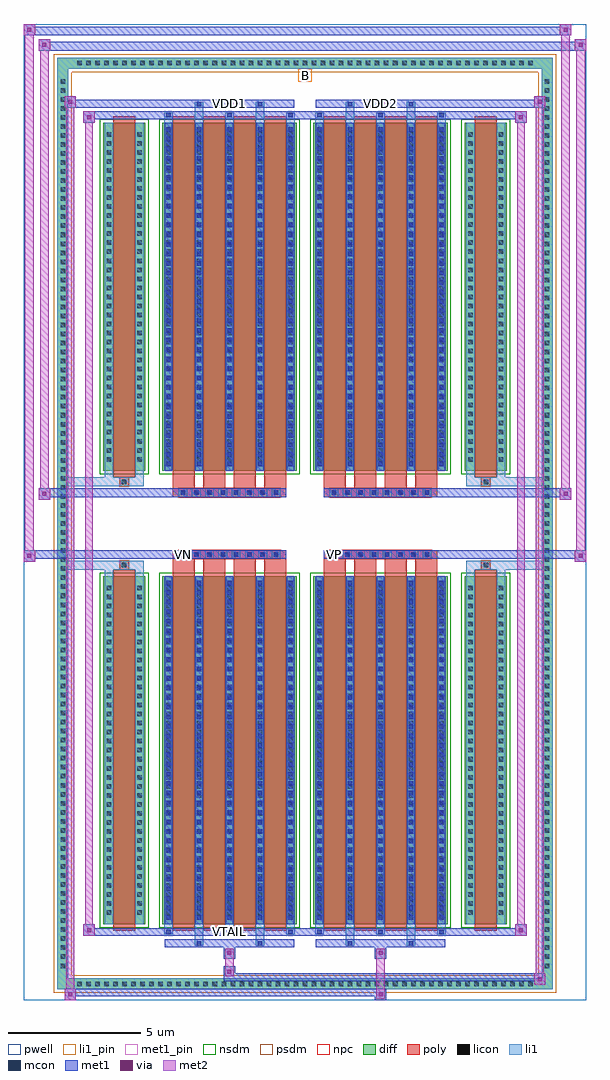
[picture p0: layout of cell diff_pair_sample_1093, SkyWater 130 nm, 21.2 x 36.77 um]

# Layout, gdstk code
import gdstk
lib = gdstk.Library(unit=1e-6, precision=5e-09)
def R(c, l, rs):  # rectangles x0, y0, x1, y1
    for r in rs: c.add(gdstk.rectangle(r[:2], r[2:], *l))
def A(c, l, x, y, w, h, nx, ny, dx, dy):  # array of equal rectangles
    R(c, l, [(x+i*dx, y+j*dy, x+i*dx+w, y+j*dy+h) for i in range(nx) for j in range(ny)])
def P(c, l, *ps):  # polygons
    for p in ps: c.add(gdstk.Polygon(p, *l))
pwell = (64, 44)
diff = (65, 20)
poly = (66, 20)
licon = (66, 44)
li1_pin = (67, 16)
li1 = (67, 20)
mcon = (67, 44)
met1_pin = (68, 16)
met1 = (68, 20)
via = (68, 44)
met2 = (69, 20)
nsdm = (93, 44)
psdm = (94, 20)
npc = (95, 20)

diff_pair_sample_1093 = lib.new_cell('diff_pair_sample_1093')
R(diff_pair_sample_1093, pwell, [(-10.6,-17.95,10.6,18.82), (-7.92,-16.14,-0.01,-0.8), (0.01,-16.14,7.92,-0.8), (-7.92,0.8,-0.01,16.14), (0.01,0.8,7.92,16.14)])
A(diff_pair_sample_1093, diff, -8.705, -17.55, 0.41, 0.41, 51, 2, 0.34, 34.69)
A(diff_pair_sample_1093, diff, -9.33, -16.865, 0.41, 0.41, 1, 99, 0, 0.34)
A(diff_pair_sample_1093, diff, 8.92, -16.865, 0.41, 0.41, 1, 99, 0, 0.34)
R(diff_pair_sample_1093, diff, [(-8.705,-17.55,8.705,-17.14), (-9.33,-16.865,-8.92,16.865), (8.92,-16.865,9.33,16.865), (-7.61,-15.095,-6.01,-1.985), (-5.37,-15.095,-0.32,-1.985), (0.32,-15.095,5.37,-1.985), (6.01,-15.095,7.61,-1.985), (-7.61,1.985,-6.01,15.095), (-5.37,1.985,-0.32,15.095), (0.32,1.985,5.37,15.095), (6.01,1.985,7.61,15.095), (-8.705,17.14,8.705,17.55)])
P(diff_pair_sample_1093, diff, [(9.33,17.55),(-9.33,17.55),(-9.33,-17.14),(-8.92,-17.14),(-8.92,17.14),(8.92,17.14),(8.92,-17.14),(-8.92,-17.14),(-9.33,-17.14),(-9.33,-17.55),(9.33,-17.55)])
A(diff_pair_sample_1093, poly, -4.98, -15.345, 0.82, 13.61, 4, 2, 1.15, 17.08)
A(diff_pair_sample_1093, poly, 0.71, -15.345, 0.82, 13.61, 4, 2, 1.15, 17.08)
A(diff_pair_sample_1093, poly, -4.98, -1.735, 0.82, 0.405, 4, 2, 1.15, 3.065)
A(diff_pair_sample_1093, poly, 0.71, -1.735, 0.82, 0.405, 4, 2, 1.15, 3.065)
A(diff_pair_sample_1093, poly, -4.76, -1.33, 0.33, 0.33, 8, 2, 0.5, 2.33)
A(diff_pair_sample_1093, poly, 0.93, -1.33, 0.33, 0.33, 8, 2, 0.5, 2.33)
R(diff_pair_sample_1093, poly, [(-7.22,-15.345,-6.4,-1.735), (6.4,-15.345,7.22,-1.735), (-6.975,-1.735,-6.645,-1.405), (-6.975,-1.735,-6.645,-1.405), (6.645,-1.735,6.975,-1.405), (6.645,-1.735,6.975,-1.405), (-4.98,-1.33,-0.71,-1), (0.71,-1.33,4.98,-1), (-4.98,1,-0.71,1.33), (0.71,1,4.98,1.33), (-6.975,1.405,-6.645,1.735), (-6.975,1.405,-6.645,1.735), (6.645,1.405,6.975,1.735), (6.645,1.405,6.975,1.735), (-7.22,1.735,-6.4,15.345), (6.4,1.735,7.22,15.345)])
A(diff_pair_sample_1093, licon, -8.585, -17.43, 0.17, 0.17, 51, 2, 0.34, 34.69)
A(diff_pair_sample_1093, licon, -9.21, -16.745, 0.17, 0.17, 1, 99, 0, 0.34)
A(diff_pair_sample_1093, licon, 9.04, -16.745, 0.17, 0.17, 1, 99, 0, 0.34)
A(diff_pair_sample_1093, licon, -7.47, -14.745, 0.17, 0.17, 1, 37, 0, 0.34)
A(diff_pair_sample_1093, licon, -6.32, -14.745, 0.17, 0.17, 1, 37, 0, 0.34)
A(diff_pair_sample_1093, licon, -5.23, -14.745, 0.17, 0.17, 5, 37, 1.15, 0.34)
A(diff_pair_sample_1093, licon, 0.46, -14.745, 0.17, 0.17, 5, 37, 1.15, 0.34)
A(diff_pair_sample_1093, licon, 6.15, -14.745, 0.17, 0.17, 1, 37, 0, 0.34)
A(diff_pair_sample_1093, licon, 7.3, -14.745, 0.17, 0.17, 1, 37, 0, 0.34)
A(diff_pair_sample_1093, licon, -4.68, -1.25, 0.17, 0.17, 8, 2, 0.5, 2.33)
A(diff_pair_sample_1093, licon, 1.01, -1.25, 0.17, 0.17, 8, 2, 0.5, 2.33)
A(diff_pair_sample_1093, licon, -7.47, 2.335, 0.17, 0.17, 1, 37, 0, 0.34)
A(diff_pair_sample_1093, licon, -6.32, 2.335, 0.17, 0.17, 1, 37, 0, 0.34)
A(diff_pair_sample_1093, licon, -5.23, 2.335, 0.17, 0.17, 5, 37, 1.15, 0.34)
A(diff_pair_sample_1093, licon, 0.46, 2.335, 0.17, 0.17, 5, 37, 1.15, 0.34)
A(diff_pair_sample_1093, licon, 6.15, 2.335, 0.17, 0.17, 1, 37, 0, 0.34)
A(diff_pair_sample_1093, licon, 7.3, 2.335, 0.17, 0.17, 1, 37, 0, 0.34)
R(diff_pair_sample_1093, licon, [(-6.895,-1.655,-6.725,-1.485), (6.725,-1.655,6.895,-1.485), (-6.895,1.485,-6.725,1.655), (6.725,1.485,6.895,1.655)])
R(diff_pair_sample_1093, li1_pin, [(-0.25,16.64,0.25,17.14)])
A(diff_pair_sample_1093, li1, -8.665, -17.51, 0.33, 0.33, 51, 2, 0.34, 34.69)
A(diff_pair_sample_1093, li1, -9.29, -16.825, 0.33, 0.33, 1, 99, 0, 0.34)
A(diff_pair_sample_1093, li1, 8.96, -16.825, 0.33, 0.33, 1, 99, 0, 0.34)
A(diff_pair_sample_1093, li1, -5.31, -15.47, 0.33, 0.375, 3, 2, 2.3, 30.565)
A(diff_pair_sample_1093, li1, -5.23, -15.47, 0.17, 0.17, 3, 2, 2.3, 30.77)
A(diff_pair_sample_1093, li1, 0.38, -15.47, 0.33, 0.375, 3, 2, 2.3, 30.565)
A(diff_pair_sample_1093, li1, 0.46, -15.47, 0.17, 0.17, 3, 2, 2.3, 30.77)
A(diff_pair_sample_1093, li1, -5.31, -15.095, 0.33, 13.11, 5, 2, 1.15, 17.08)
A(diff_pair_sample_1093, li1, 0.38, -15.095, 0.33, 13.11, 5, 2, 1.15, 17.08)
A(diff_pair_sample_1093, li1, -5.23, -14.925, 0.17, 0.17, 5, 36, 1.15, 0.36)
A(diff_pair_sample_1093, li1, -5.23, -14.925, 0.17, 12.77, 5, 2, 1.15, 17.08)
A(diff_pair_sample_1093, li1, 0.46, -14.925, 0.17, 0.17, 5, 36, 1.15, 0.36)
A(diff_pair_sample_1093, li1, 0.46, -14.925, 0.17, 12.77, 5, 2, 1.15, 17.08)
A(diff_pair_sample_1093, li1, -7.55, -14.825, 0.33, 0.33, 1, 37, 0, 0.34)
A(diff_pair_sample_1093, li1, -6.4, -14.825, 0.33, 0.33, 1, 37, 0, 0.34)
A(diff_pair_sample_1093, li1, -5.31, -14.825, 0.33, 0.33, 5, 37, 1.15, 0.34)
A(diff_pair_sample_1093, li1, 0.38, -14.825, 0.33, 0.33, 5, 37, 1.15, 0.34)
A(diff_pair_sample_1093, li1, 6.07, -14.825, 0.33, 0.33, 1, 37, 0, 0.34)
A(diff_pair_sample_1093, li1, 7.22, -14.825, 0.33, 0.33, 1, 37, 0, 0.34)
A(diff_pair_sample_1093, li1, -4.76, -1.33, 0.33, 0.33, 8, 2, 0.5, 2.33)
A(diff_pair_sample_1093, li1, 0.93, -1.33, 0.33, 0.33, 8, 2, 0.5, 2.33)
A(diff_pair_sample_1093, li1, -5.23, 2.155, 0.17, 0.17, 5, 36, 1.15, 0.36)
A(diff_pair_sample_1093, li1, 0.46, 2.155, 0.17, 0.17, 5, 36, 1.15, 0.36)
A(diff_pair_sample_1093, li1, -7.55, 2.255, 0.33, 0.33, 1, 37, 0, 0.34)
A(diff_pair_sample_1093, li1, -6.4, 2.255, 0.33, 0.33, 1, 37, 0, 0.34)
A(diff_pair_sample_1093, li1, -5.31, 2.255, 0.33, 0.33, 5, 37, 1.15, 0.34)
A(diff_pair_sample_1093, li1, 0.38, 2.255, 0.33, 0.33, 5, 37, 1.15, 0.34)
A(diff_pair_sample_1093, li1, 6.07, 2.255, 0.33, 0.33, 1, 37, 0, 0.34)
A(diff_pair_sample_1093, li1, 7.22, 2.255, 0.33, 0.33, 1, 37, 0, 0.34)
R(diff_pair_sample_1093, li1, [(-9.33,-17.55,-8.92,-17.14), (-9.33,-17.55,-8.92,-17.14), (-8.92,-17.55,8.92,-17.14), (8.92,-17.55,9.33,-17.14), (8.92,-17.55,9.33,-17.14), (-9.33,-17.14,-8.92,17.14), (8.92,-17.14,9.33,17.14), (-4.16,-15.9,-3.83,-15.095), (-4.08,-15.9,-3.91,-15.73), (-1.86,-15.9,-1.53,-15.095), (-1.78,-15.9,-1.61,-15.73), (1.53,-15.9,1.86,-15.095), (1.61,-15.9,1.78,-15.73), (3.83,-15.9,4.16,-15.095), (3.91,-15.9,4.08,-15.73), (-7.55,-15.095,-7.22,-1.985), (-6.4,-15.095,-6.07,-1.985), (6.07,-15.095,6.4,-1.985), (7.22,-15.095,7.55,-1.985), (-7.55,-1.985,-7.22,-1.405), (-6.4,-1.985,-6.07,-1.405), (6.07,-1.985,6.4,-1.405), (7.22,-1.985,7.55,-1.405), (-9.33,-1.735,-6.975,-1.405), (-7.55,-1.735,-6.975,-1.405), (-6.975,-1.735,-6.645,-1.405), (-6.645,-1.735,-6.07,-1.405), (6.07,-1.735,6.645,-1.405), (6.645,-1.735,6.975,-1.405), (6.645,-1.735,9.33,-1.405), (6.975,-1.735,7.55,-1.405), (-9.33,1.405,-6.975,1.735), (-7.55,1.405,-6.975,1.735), (-7.55,1.405,-7.22,1.985), (-6.975,1.405,-6.645,1.735), (-6.645,1.405,-6.07,1.735), (-6.4,1.405,-6.07,1.985), (6.07,1.405,6.645,1.735), (6.07,1.405,6.4,1.985), (6.645,1.405,6.975,1.735), (6.645,1.405,9.33,1.735), (6.975,1.405,7.55,1.735), (7.22,1.405,7.55,1.985), (-7.55,1.985,-7.22,15.095), (-6.4,1.985,-6.07,15.095), (6.07,1.985,6.4,15.095), (7.22,1.985,7.55,15.095), (-4.16,15.095,-3.83,15.9), (-1.86,15.095,-1.53,15.9), (1.53,15.095,1.86,15.9), (3.83,15.095,4.16,15.9), (-4.08,15.73,-3.91,15.9), (-1.78,15.73,-1.61,15.9), (1.61,15.73,1.78,15.9), (3.91,15.73,4.08,15.9), (-9.33,17.14,-8.92,17.55), (-9.33,17.14,-8.92,17.55), (-8.92,17.14,8.92,17.55), (8.92,17.14,9.33,17.55), (8.92,17.14,9.33,17.55)])
A(diff_pair_sample_1093, mcon, -5.23, -15.47, 0.17, 0.17, 3, 2, 2.3, 30.77)
A(diff_pair_sample_1093, mcon, 0.46, -15.47, 0.17, 0.17, 3, 2, 2.3, 30.77)
A(diff_pair_sample_1093, mcon, -5.23, -14.925, 0.17, 0.17, 5, 36, 1.15, 0.36)
A(diff_pair_sample_1093, mcon, 0.46, -14.925, 0.17, 0.17, 5, 36, 1.15, 0.36)
A(diff_pair_sample_1093, mcon, -4.68, -1.25, 0.17, 0.17, 8, 2, 0.5, 2.33)
A(diff_pair_sample_1093, mcon, 1.01, -1.25, 0.17, 0.17, 8, 2, 0.5, 2.33)
A(diff_pair_sample_1093, mcon, -5.23, 2.155, 0.17, 0.17, 5, 36, 1.15, 0.36)
A(diff_pair_sample_1093, mcon, 0.46, 2.155, 0.17, 0.17, 5, 36, 1.15, 0.36)
R(diff_pair_sample_1093, mcon, [(-4.08,-15.9,-3.91,-15.73), (-1.78,-15.9,-1.61,-15.73), (1.61,-15.9,1.78,-15.73), (3.91,-15.9,4.08,-15.73), (-4.08,15.73,-3.91,15.9), (-1.78,15.73,-1.61,15.9), (1.61,15.73,1.78,15.9), (3.91,15.73,4.08,15.9)])
R(diff_pair_sample_1093, met1_pin, [(-2.98,-15.51,-2.71,-15.24), (-4.73,-1.29,-4.46,-1.02), (0.96,-1.29,1.23,-1.02), (-2.98,15.69,-2.71,15.96), (2.71,15.69,2.98,15.96)])
A(diff_pair_sample_1093, met1, -5.29, -15.53, 0.29, 0.29, 3, 2, 2.3, 30.77)
A(diff_pair_sample_1093, met1, 0.4, -15.53, 0.29, 0.29, 3, 2, 2.3, 30.77)
A(diff_pair_sample_1093, met1, -5.29, -15.095, 0.29, 13.11, 5, 2, 1.15, 17.08)
A(diff_pair_sample_1093, met1, 0.4, -15.095, 0.29, 13.11, 5, 2, 1.15, 17.08)
A(diff_pair_sample_1093, met1, -5.29, -14.985, 0.29, 0.29, 5, 36, 1.15, 0.36)
A(diff_pair_sample_1093, met1, 0.4, -14.985, 0.29, 0.29, 5, 36, 1.15, 0.36)
A(diff_pair_sample_1093, met1, -4.74, -1.31, 0.29, 0.29, 8, 2, 0.5, 2.33)
A(diff_pair_sample_1093, met1, 0.95, -1.31, 0.29, 0.29, 8, 2, 0.5, 2.33)
A(diff_pair_sample_1093, met1, -5.29, 2.095, 0.29, 0.29, 5, 36, 1.15, 0.36)
A(diff_pair_sample_1093, met1, 0.4, 2.095, 0.29, 0.29, 5, 36, 1.15, 0.36)
R(diff_pair_sample_1093, met1, [(-9.06,-17.95,-8.63,-17.52), (2.63,-17.95,3.06,-17.52), (-9.06,-17.81,3.06,-17.52), (8.63,-17.38,9.06,-16.95), (-3.06,-17.24,9.06,-16.95), (-3.06,-17.1,-2.63,-16.67), (-3.06,-16.39,-2.63,-15.96), (2.63,-16.39,3.06,-15.96), (-5.29,-15.96,-0.4,-15.67), (-4.14,-15.96,-3.85,-15.67), (-1.84,-15.96,-1.55,-15.67), (0.4,-15.96,5.29,-15.67), (1.55,-15.96,1.84,-15.67), (3.85,-15.96,4.14,-15.67), (-8.35,-15.53,-7.92,-15.1), (-8.35,-15.53,-5.29,-15.24), (-5.29,-15.53,-0.4,-15.24), (-0.4,-15.53,0.4,-15.24), (0.4,-15.53,5.29,-15.24), (5.29,-15.53,8.35,-15.24), (7.92,-15.53,8.35,-15.1), (-10.6,-1.43,-10.17,-1), (10.17,-1.43,10.6,-1), (-10.6,-1.33,-0.71,-1), (-4.98,-1.33,-0.71,-1), (0.71,-1.33,4.98,-1), (0.71,-1.33,10.6,-1), (-10.03,0.9,-9.6,1.33), (9.6,0.9,10.03,1.33), (-10.03,1,-4.98,1.33), (-4.98,1,-0.71,1.33), (0.71,1,4.98,1.33), (4.98,1,10.03,1.33), (-8.35,15.1,-7.92,15.53), (7.92,15.1,8.35,15.53), (-8.35,15.24,-5.29,15.53), (-5.29,15.24,-0.4,15.53), (-0.4,15.24,0.4,15.53), (0.4,15.24,5.29,15.53), (5.29,15.24,8.35,15.53), (-9.06,15.67,-8.63,16.1), (-9.06,15.67,-5.29,15.96), (-5.29,15.67,-0.4,15.96), (-4.14,15.67,-3.85,15.96), (-1.84,15.67,-1.55,15.96), (0.4,15.67,5.29,15.96), (1.55,15.67,1.84,15.96), (3.85,15.67,4.14,15.96), (5.29,15.67,9.06,15.96), (8.63,15.67,9.06,16.1), (-10.03,17.82,-9.6,18.25), (-10.03,17.82,-7.92,18.15), (-7.92,17.82,7.92,18.15), (7.92,17.82,10.6,18.15), (10.17,17.82,10.6,18.25), (-10.6,18.39,-10.17,18.82), (-10.6,18.39,-7.92,18.72), (-7.92,18.39,7.92,18.72), (7.92,18.39,10.03,18.72), (9.6,18.39,10.03,18.82)])
R(diff_pair_sample_1093, via, [(-8.92,-17.81,-8.77,-17.66), (2.77,-17.81,2.92,-17.66), (8.77,-17.24,8.92,-17.09), (-2.92,-16.96,-2.77,-16.81), (-2.92,-16.25,-2.77,-16.1), (2.77,-16.25,2.92,-16.1), (-8.21,-15.39,-8.06,-15.24), (8.06,-15.39,8.21,-15.24), (-10.46,-1.29,-10.31,-1.14), (10.31,-1.29,10.46,-1.14), (-9.89,1.04,-9.74,1.19), (9.74,1.04,9.89,1.19), (-8.21,15.24,-8.06,15.39), (8.06,15.24,8.21,15.39), (-8.92,15.81,-8.77,15.96), (8.77,15.81,8.92,15.96), (-9.89,17.96,-9.74,18.11), (10.31,17.96,10.46,18.11), (-10.46,18.53,-10.31,18.68), (9.74,18.53,9.89,18.68)])
R(diff_pair_sample_1093, met2, [(-9.06,-17.95,-8.63,-17.52), (-8.99,-17.95,-8.7,16.1), (-8.7,-17.95,-8.63,-17.52), (-9.01,-17.9,-8.68,-17.57), (2.68,-17.9,3.01,-17.57), (2.68,-17.57,3.01,-16.34), (8.63,-17.38,9.06,-16.95), (8.7,-17.38,8.99,16.1), (8.99,-17.38,9.06,-16.95), (8.68,-17.33,9.01,-17), (-3.01,-17.05,-2.68,-16.72), (-3.01,-16.72,-2.68,-16.34), (-3.01,-16.34,-2.68,-16.01), (2.68,-16.34,3.01,-16.01), (-8.35,-15.53,-7.92,-15.1), (-8.28,-15.53,-7.99,15.53), (-7.99,-15.53,-7.92,-15.1), (7.92,-15.53,8.35,-15.1), (7.99,-15.53,8.28,15.53), (8.28,-15.53,8.35,-15.1), (-8.3,-15.48,-7.97,-15.15), (7.97,-15.48,8.3,-15.15), (-10.6,-1.43,-10.17,-1), (-10.55,-1.43,-10.22,18.82), (-10.22,-1.43,-10.17,-1), (10.17,-1.43,10.6,-1), (10.22,-1.43,10.55,18.25), (10.55,-1.43,10.6,-1), (-10.55,-1.38,-10.22,-1.05), (10.22,-1.38,10.55,-1.05), (-10.03,0.9,-9.6,1.33), (-9.98,0.9,-9.65,18.25), (-9.65,0.9,-9.6,1.33), (9.6,0.9,10.03,1.33), (9.65,0.9,9.98,18.82), (9.98,0.9,10.03,1.33), (-9.98,0.95,-9.65,1.28), (9.65,0.95,9.98,1.28), (-8.35,15.1,-7.92,15.53), (-7.99,15.1,-7.92,15.53), (7.92,15.1,8.35,15.53), (8.28,15.1,8.35,15.53), (-8.3,15.15,-7.97,15.48), (7.97,15.15,8.3,15.48), (-9.06,15.67,-8.63,16.1), (-8.7,15.67,-8.63,16.1), (8.63,15.67,9.06,16.1), (8.99,15.67,9.06,16.1), (-9.01,15.72,-8.68,16.05), (8.68,15.72,9.01,16.05), (-10.03,17.82,-9.6,18.25), (-9.65,17.82,-9.6,18.25), (10.17,17.82,10.6,18.25), (10.55,17.82,10.6,18.25), (-9.98,17.87,-9.65,18.2), (10.22,17.87,10.55,18.2), (-10.6,18.39,-10.17,18.82), (-10.22,18.39,-10.17,18.82), (9.6,18.39,10.03,18.82), (9.98,18.39,10.03,18.82), (-10.55,18.44,-10.22,18.77), (9.65,18.44,9.98,18.77)])
R(diff_pair_sample_1093, nsdm, [(-7.74,-15.225,-5.88,-1.855), (-5.5,-15.225,-0.19,-1.855), (0.19,-15.225,5.5,-1.855), (5.88,-15.225,7.74,-1.855), (-7.74,1.855,-5.88,15.225), (-5.5,1.855,-0.19,15.225), (0.19,1.855,5.5,15.225), (5.88,1.855,7.74,15.225)])
P(diff_pair_sample_1093, psdm, [(9.46,17.68),(-9.46,17.68),(-9.46,-17.01),(-8.79,-17.01),(-8.79,17.01),(8.79,17.01),(8.79,-17.01),(-8.79,-17.01),(-9.46,-17.01),(-9.46,-17.68),(9.46,-17.68)])
A(diff_pair_sample_1093, npc, -4.78, -1.35, 0.37, 0.37, 8, 2, 0.5, 2.33)
A(diff_pair_sample_1093, npc, 0.91, -1.35, 0.37, 0.37, 8, 2, 0.5, 2.33)
R(diff_pair_sample_1093, npc, [(-6.995,-1.755,-6.625,-1.385), (6.625,-1.755,6.995,-1.385), (-4.78,-1.35,-3.91,-0.98), (-4.78,-1.35,-3.91,-0.98), (-4.28,-1.35,-3.41,-0.98), (-4.28,-1.35,-3.41,-0.98), (-3.78,-1.35,-2.91,-0.98), (-3.78,-1.35,-2.91,-0.98), (-3.28,-1.35,-2.41,-0.98), (-3.28,-1.35,-2.41,-0.98), (-2.78,-1.35,-1.91,-0.98), (-2.78,-1.35,-1.91,-0.98), (-2.28,-1.35,-1.41,-0.98), (-2.28,-1.35,-1.41,-0.98), (-1.78,-1.35,-0.91,-0.98), (-1.78,-1.35,-0.91,-0.98), (0.91,-1.35,1.78,-0.98), (0.91,-1.35,1.78,-0.98), (1.41,-1.35,2.28,-0.98), (1.41,-1.35,2.28,-0.98), (1.91,-1.35,2.78,-0.98), (1.91,-1.35,2.78,-0.98), (2.41,-1.35,3.28,-0.98), (2.41,-1.35,3.28,-0.98), (2.91,-1.35,3.78,-0.98), (2.91,-1.35,3.78,-0.98), (3.41,-1.35,4.28,-0.98), (3.41,-1.35,4.28,-0.98), (3.91,-1.35,4.78,-0.98), (3.91,-1.35,4.78,-0.98), (-4.78,0.98,-3.91,1.35), (-4.78,0.98,-3.91,1.35), (-4.28,0.98,-3.41,1.35), (-4.28,0.98,-3.41,1.35), (-3.78,0.98,-2.91,1.35), (-3.78,0.98,-2.91,1.35), (-3.28,0.98,-2.41,1.35), (-3.28,0.98,-2.41,1.35), (-2.78,0.98,-1.91,1.35), (-2.78,0.98,-1.91,1.35), (-2.28,0.98,-1.41,1.35), (-2.28,0.98,-1.41,1.35), (-1.78,0.98,-0.91,1.35), (-1.78,0.98,-0.91,1.35), (0.91,0.98,1.78,1.35), (0.91,0.98,1.78,1.35), (1.41,0.98,2.28,1.35), (1.41,0.98,2.28,1.35), (1.91,0.98,2.78,1.35), (1.91,0.98,2.78,1.35), (2.41,0.98,3.28,1.35), (2.41,0.98,3.28,1.35), (2.91,0.98,3.78,1.35), (2.91,0.98,3.78,1.35), (3.41,0.98,4.28,1.35), (3.41,0.98,4.28,1.35), (3.91,0.98,4.78,1.35), (3.91,0.98,4.78,1.35), (-6.995,1.385,-6.625,1.755), (6.625,1.385,6.995,1.755)])
diff_pair_sample_1093.add(gdstk.Label('VTAIL', (-2.845,-15.375), layer=68, texttype=5))
diff_pair_sample_1093.add(gdstk.Label('VN', (-4.595,-1.155), layer=68, texttype=5))
diff_pair_sample_1093.add(gdstk.Label('VP', (1.095,-1.155), layer=68, texttype=5))
diff_pair_sample_1093.add(gdstk.Label('B', (0,16.89), layer=67, texttype=5))
diff_pair_sample_1093.add(gdstk.Label('VDD2', (2.845,15.825), layer=68, texttype=5))
diff_pair_sample_1093.add(gdstk.Label('VDD1', (-2.845,15.825), layer=68, texttype=5))

lib.write_gds('diff_pair_sample_1093.gds')
